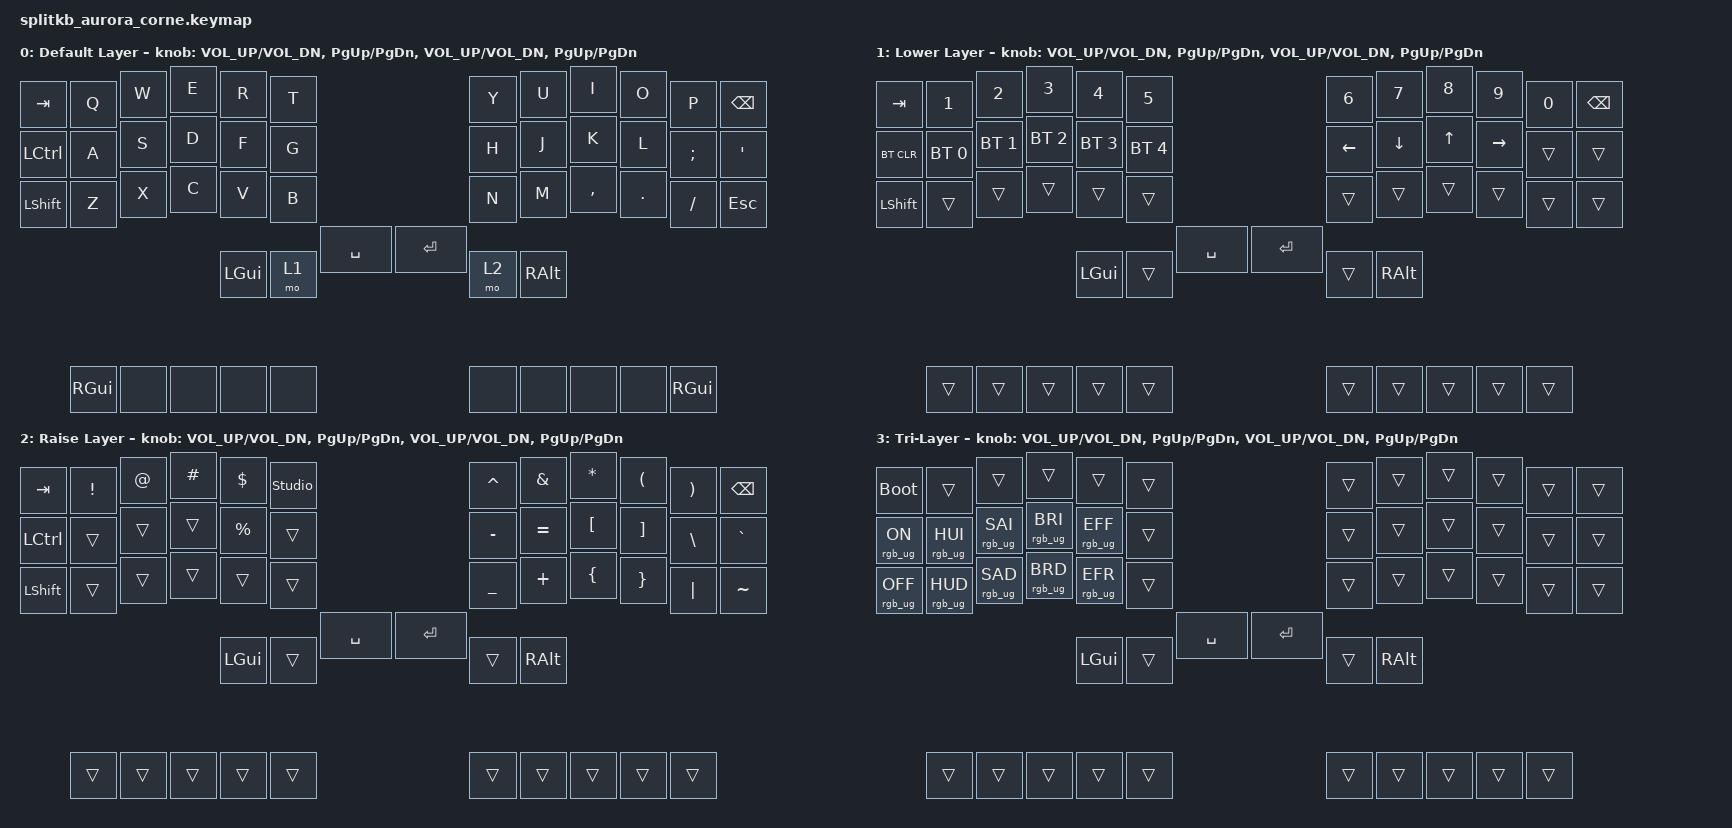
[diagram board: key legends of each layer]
/*
 * Copyright (c) 2020 The ZMK Contributors
 *
 * SPDX-License-Identifier: MIT
 */

#include <behaviors.dtsi>
#include <dt-bindings/zmk/keys.h>
#include <dt-bindings/zmk/bt.h>
#include <dt-bindings/zmk/rgb.h>

&led_strip {
    // chain-length = <6>;  // Uncomment if using only underglow LEDs
    chain-length = <27>;
    // chain-length = <21>; // Uncomment if using only per-key LEDs.
};

/ {
    conditional_layers {
        compatible = "zmk,conditional-layers";
        tri_layer {
            if-layers = <1 2>;
            then-layer = <3>;
        };
    };
};

/ {
    keymap {
        compatible = "zmk,keymap";

        default_layer {
            display-name = "Default Layer";
// -----------------------------------------------------------------------------------------
// |  TAB |  Q  |  W  |  E  |  R  |  T  |   |  Y  |  U   |  I  |  O  |  P  | BSPC |
// | CTRL |  A  |  S  |  D  |  F  |  G  |   |  H  |  J   |  K  |  L  |  ;  |  '   |
// | SHFT |  Z  |  X  |  C  |  V  |  B  |   |  N  |  M   |  ,  |  .  |  /  | ESC  |
//                    | GUI | LWR | SPC |   | ENT | RSE  | ALT |
            bindings = <
&kp TAB   &kp Q &kp W &kp E &kp R &kp T   &kp Y &kp U  &kp I     &kp O   &kp P    &kp BSPC
&kp LCTRL &kp A &kp S &kp D &kp F &kp G   &kp H &kp J  &kp K     &kp L   &kp SEMI &kp SQT
&kp LSHFT &kp Z &kp X &kp C &kp V &kp B   &kp N &kp M  &kp COMMA &kp DOT &kp FSLH &kp ESC
               &kp LGUI &mo 1 &kp SPACE   &kp RET &mo 2 &kp RALT

&kp RGUI &none &none &none &none                          &none &none &none &none &kp RGUI

            >;
            sensor-bindings = <&inc_dec_kp C_VOL_UP C_VOL_DN &inc_dec_kp PG_UP PG_DN &inc_dec_kp C_VOL_UP C_VOL_DN &inc_dec_kp PG_UP PG_DN>;
        };

        lower_layer {
            display-name = "Lower Layer";
// -----------------------------------------------------------------------------------------
// |  TAB |  1  |  2  |  3  |  4  |  5  |   |  6  |  7  |  8  |  9  |  0  | BSPC |
// | BTCLR| BT1 | BT2 | BT3 | BT4 | BT5 |   | LFT | DWN |  UP | RGT |     |      |
// | SHFT |     |     |     |     |     |   |     |     |     |     |     |      |
//                    | GUI |     | SPC |   | ENT |     | ALT |
            bindings = <
&kp TAB    &kp N1       &kp N2       &kp N3       &kp N4       &kp N5         &kp N6   &kp N7   &kp N8 &kp N9    &kp N0 &kp BSPC
&bt BT_CLR &bt BT_SEL 0 &bt BT_SEL 1 &bt BT_SEL 2 &bt BT_SEL 3 &bt BT_SEL 4   &kp LEFT &kp DOWN &kp UP &kp RIGHT &trans &trans
&kp LSHFT  &trans       &trans       &trans       &trans       &trans         &trans   &trans   &trans &trans    &trans &trans
                                     &kp LGUI     &trans       &kp SPACE      &kp RET  &trans   &kp RALT

&trans &trans &trans &trans &trans                                                            &trans &trans &trans &trans &trans

            >;
            sensor-bindings = <&inc_dec_kp C_VOL_UP C_VOL_DN &inc_dec_kp PG_UP PG_DN &inc_dec_kp C_VOL_UP C_VOL_DN &inc_dec_kp PG_UP PG_DN>;
        };

        raise_layer {
            display-name = "Raise Layer";
// -----------------------------------------------------------------------------------------
// |  TAB |  !  |  @  |  #  |  $  |STDIO|   |  ^  |  &  |  *  |  (  |  )  | BSPC |
// | CTRL |     |     |     |  %  |     |   |  -  |  =  |  [  |  ]  |  \  |  `   |
// | SHFT |     |     |     |     |     |   |  _  |  +  |  {  |  }  | "|" |  ~   |
//                    | GUI |     | SPC |   | ENT |     | ALT |
            bindings = <
&kp  TAB  &kp EXCL &kp AT &kp HASH &kp DLLR  &studio_unlock &kp CARET &kp AMPS  &kp ASTRK &kp LPAR &kp RPAR &kp BSPC
&kp LCTRL &trans   &trans &trans   &kp PRCNT &trans         &kp MINUS &kp EQUAL &kp LBKT  &kp RBKT &kp BSLH &kp GRAVE
&kp LSHFT &trans   &trans &trans   &trans    &trans         &kp UNDER &kp PLUS  &kp LBRC  &kp RBRC &kp PIPE &kp TILDE
                          &kp LGUI &trans    &kp SPACE      &kp RET   &trans    &kp RALT

&trans &trans &trans &trans &trans                                          &trans &trans &trans &trans &trans

            >;
            sensor-bindings = <&inc_dec_kp C_VOL_UP C_VOL_DN &inc_dec_kp PG_UP PG_DN &inc_dec_kp C_VOL_UP C_VOL_DN &inc_dec_kp PG_UP PG_DN>;
        };

        tri_layer {
            display-name = "Tri-Layer";
// -----------------------------------------------------------------------------------------
// | BOOT  |       |       |       |       |     |   |     |     |     |     |     |     |
// | RGB_ON|RGB_HUI|RGB_SAI|RGB_BRI|RGB_EFF|     |   |     |     |     |     |     |     |
// |RGB_OFF|RGB_HUD|RGB_SAD|RGB_BRD|RGB_EFR|     |   |     |     |     |     |     |     |
//                         |  GUI  |       | SPC |   | ENT |     | ALT |
            bindings = <
&bootloader     &trans          &trans          &trans          &trans          &trans      &trans &trans &trans &trans &trans &trans
&rgb_ug RGB_ON  &rgb_ug RGB_HUI &rgb_ug RGB_SAI &rgb_ug RGB_BRI &rgb_ug RGB_EFF &trans      &trans &trans &trans &trans &trans &trans
&rgb_ug RGB_OFF &rgb_ug RGB_HUD &rgb_ug RGB_SAD &rgb_ug RGB_BRD &rgb_ug RGB_EFR &trans      &trans &trans &trans &trans &trans &trans
                                                           &kp LGUI &trans   &kp SPACE      &kp RET   &trans    &kp RALT
&trans &trans &trans &trans &trans                                                                 &trans &trans &trans &trans &trans

            >;
            sensor-bindings = <&inc_dec_kp C_VOL_UP C_VOL_DN &inc_dec_kp PG_UP PG_DN &inc_dec_kp C_VOL_UP C_VOL_DN &inc_dec_kp PG_UP PG_DN>;
        };
    };
};
